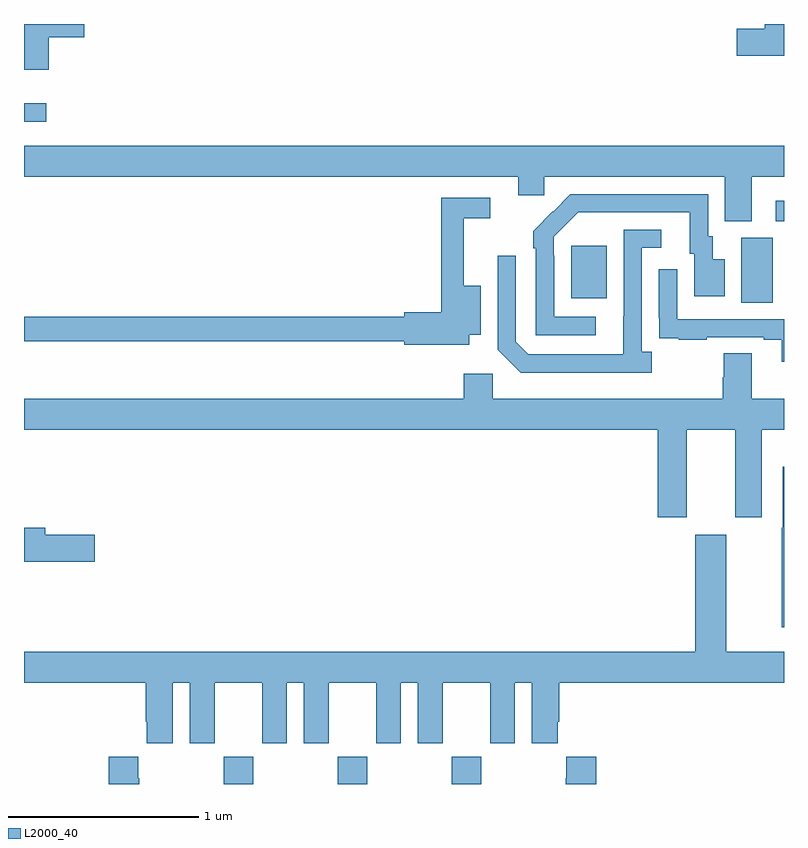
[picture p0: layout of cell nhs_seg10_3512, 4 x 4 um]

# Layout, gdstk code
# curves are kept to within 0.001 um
import gdstk
lib = gdstk.Library(unit=1e-6, precision=1e-09)
def R(c, l, rs):  # rectangles x0, y0, x1, y1
    for r in rs: c.add(gdstk.rectangle(r[:2], r[2:], *l))
def A(c, l, x, y, w, h, nx, ny, dx, dy):  # array of equal rectangles
    R(c, l, [(x+i*dx, y+j*dy, x+i*dx+w, y+j*dy+h) for i in range(nx) for j in range(ny)])
def P(c, l, *ps):  # polygons
    for p in ps: c.add(gdstk.Polygon(p, *l))
L2000_40 = (2000, 40)

nhs_seg10_3512 = lib.new_cell('nhs_seg10_3512')
A(nhs_seg10_3512, L2000_40, 304.051, 1250.5, 0.155, 0.144, 3, 1, 0.6, 0)
R(nhs_seg10_3512, L2000_40, [(306.776,1253.032,306.94,1253.376), (305.879,1253.057,306.067,1253.332), (306.957,1253.463,307,1253.569), (303,1253.985,303.118,1254.082)])
P(nhs_seg10_3512, L2000_40, [(307,1254.5),(306.899,1254.5),(306.899,1254.476),(306.75,1254.476),(306.75,1254.334),(307,1254.334)],
  [(303.13,1254.43),(303.316,1254.43),(303.316,1254.5),(303,1254.5),(303,1254.26),(303.13,1254.26)],
  [(306.829,1253.696),(307,1253.696),(307,1253.86),(303,1253.86),(303,1253.696),(305.6,1253.696),(305.6,1253.598),(305.739,1253.598),(305.739,1253.696),(306.689,1253.696),(306.689,1253.461),(306.829,1253.461)],
  [(306.01,1252.959),(305.79,1252.959),(305.79,1253.279),(305.787,1253.279),(305.787,1253.379),(305.916,1253.508),(306.503,1253.508),(306.503,1253.292),(306.527,1253.292),(306.527,1253.067),(306.688,1253.067),(306.688,1253.263),(306.625,1253.263),(306.625,1253.382),(306.6,1253.382),(306.6,1253.604),(305.876,1253.604),(305.679,1253.409),(305.679,1253.321),(305.694,1253.321),(305.694,1252.863),(306.01,1252.863)],
  [(305.344,1252.865),(305.404,1252.865),(305.404,1253.122),(305.315,1253.122),(305.315,1253.478),(305.455,1253.478),(305.455,1253.586),(305.197,1253.586),(305.197,1252.982),(305,1252.982),(305,1252.958),(303,1252.958),(303,1252.83),(305,1252.83),(305,1252.811),(305.344,1252.811)],
  [(306.304,1252.774),(306.252,1252.774),(306.252,1253.322),(306.355,1253.322),(306.355,1253.418),(306.156,1253.418),(306.155,1252.761),(305.655,1252.761),(305.589,1252.827),(305.589,1253.281),(305.493,1253.281),(305.493,1252.785),(305.614,1252.664),(306.304,1252.664)],
  [(307,1252.947),(306.438,1252.947),(306.438,1253.209),(306.342,1253.209),(306.342,1252.954),(306.343,1252.954),(306.343,1252.845),(306.445,1252.845),(306.445,1252.839),(306.593,1252.839),(306.593,1252.851),(306.893,1252.851),(306.893,1252.839),(306.989,1252.839),(306.989,1252.722),(307,1252.722)],
  [(306.743,1251.903),(306.883,1251.903),(306.883,1252.364),(307,1252.364),(307,1252.528),(306.829,1252.528),(306.829,1252.766),(306.682,1252.766),(306.682,1252.641),(306.677,1252.641),(306.677,1252.528),(305.466,1252.528),(305.466,1252.66),(305.315,1252.66),(305.315,1252.528),(303,1252.528),(303,1252.364),(306.335,1252.364),(306.335,1251.903),(306.487,1251.903),(306.487,1252.364),(306.743,1252.364)],
  [(307,1252.171),(306.993,1252.171),(306.993,1251.848),(306.988,1251.848),(306.988,1251.324),(307,1251.324)],
  [(303.373,1251.812),(303.112,1251.812),(303.112,1251.848),(303,1251.848),(303,1251.67),(303.373,1251.67)],
  [(303,1251.032),(303.641,1251.032),(303.641,1250.827),(303.647,1250.827),(303.647,1250.715),(303.784,1250.715),(303.784,1251.032),(303.872,1251.032),(303.872,1250.715),(304.003,1250.715),(304.003,1251.032),(304.253,1251.032),(304.253,1250.715),(304.384,1250.715),(304.384,1251.032),(304.472,1251.032),(304.472,1250.715),(304.603,1250.715),(304.603,1251.032),(304.853,1251.032),(304.853,1250.715),(304.984,1250.715),(304.984,1251.032),(305.072,1251.032),(305.072,1250.715),(305.203,1250.715),(305.203,1251.032),(305.453,1251.032),(305.453,1250.715),(305.584,1250.715),(305.584,1251.032),(305.672,1251.032),(305.672,1250.715),(305.809,1250.715),(305.809,1250.827),(305.816,1250.827),(305.816,1251.032),(307,1251.032),(307,1251.196),(306.697,1251.196),(306.697,1251.811),(306.533,1251.811),(306.533,1251.196),(303,1251.196)],
  [(303.606,1250.531),(303.601,1250.531),(303.601,1250.644),(303.446,1250.644),(303.446,1250.5),(303.606,1250.5)],
  [(306.011,1250.644),(305.855,1250.644),(305.855,1250.531),(305.851,1250.531),(305.851,1250.5),(306.011,1250.5)])

lib.write_gds('nhs_seg10_3512.gds')
